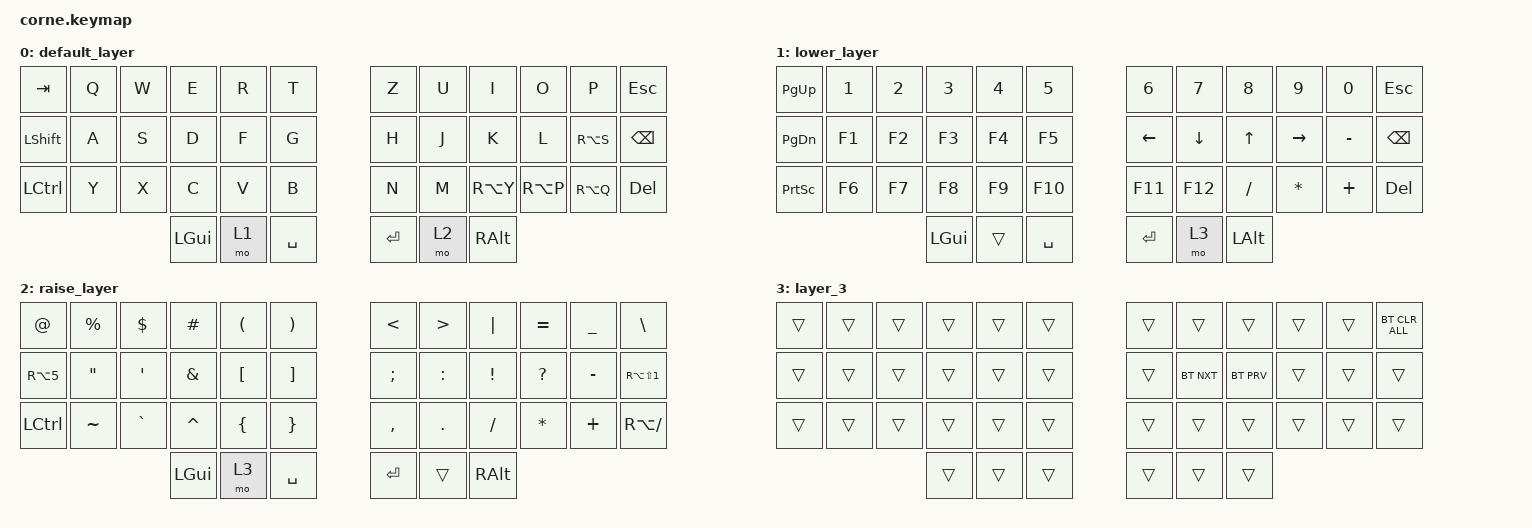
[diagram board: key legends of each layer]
/*
 * Copyright (c) 2020 The ZMK Contributors
 *
 * SPDX-License-Identifier: MIT
 */

#include <behaviors.dtsi>
#include <dt-bindings/zmk/bt.h>
#include <dt-bindings/zmk/keys.h>

/ {
    combos { compatible = "zmk,combos"; };

    keymap {
        compatible = "zmk,keymap";

        default_layer {
            // -----------------------------------------------------------------------------------------
            // |  TAB |  Q  |  W  |  E  |  R  |  T  |   |  Y  |  U   |  I  |  O  |  P  | BKSP |
            // | CTRL |  A  |  S  |  D  |  F  |  G  |   |  H  |  J   |  K  |  L  |  ;  |  '   |
            // | SHFT |  Z  |  X  |  C  |  V  |  B  |   |  N  |  M   |  ,  |  .  |  /  | ESC  |
            //                    | GUI | LWR | SPC |   | ENT | RSE  | ALT |

            bindings = <
&kp TAB           &kp Q  &kp W  &kp E     &kp R  &kp T        &kp Z    &kp U  &kp I      &kp O      &kp P      &kp ESCAPE
&kp LEFT_SHIFT    &kp A  &kp S  &kp D     &kp F  &kp G        &kp H    &kp J  &kp K      &kp L      &kp RA(S)  &kp BACKSPACE
&kp LEFT_CONTROL  &kp Y  &kp X  &kp C     &kp V  &kp B        &kp N    &kp M  &kp RA(Y)  &kp RA(P)  &kp RA(Q)  &kp DELETE
                                &kp LGUI  &mo 1  &kp SPACE    &kp RET  &mo 2  &kp RALT
            >;
        };

        lower_layer {
            // -----------------------------------------------------------------------------------------
            // |  TAB |  1  |  2  |  3  |  4  |  5  |   |  6  |  7  |  8  |  9  |  0  | BKSP |
            // | BTCLR| BT1 | BT2 | BT3 | BT4 | BT5 |   | LFT | DWN |  UP | RGT |     |      |
            // | SHFT |     |     |     |     |     |   |     |     |     |     |     |      |
            //                    | GUI |     | SPC |   | ENT |     | ALT |

            bindings = <
&kp PAGE_UP      &kp N1  &kp N2  &kp N3    &kp N4  &kp N5       &kp N6    &kp N7    &kp N8        &kp N9     &kp N0     &kp ESC
&kp PAGE_DOWN    &kp F1  &kp F2  &kp F3    &kp F4  &kp F5       &kp LEFT  &kp DOWN  &kp UP        &kp RIGHT  &kp MINUS  &kp BACKSPACE
&kp PRINTSCREEN  &kp F6  &kp F7  &kp F8    &kp F9  &kp F10      &kp F11   &kp F12   &kp FSLH      &kp STAR   &kp PLUS   &kp DEL
                                 &kp LGUI  &trans  &kp SPACE    &kp RET   &mo 3     &kp LEFT_ALT
            >;
        };

        raise_layer {
            // -----------------------------------------------------------------------------------------
            // |  TAB |  !  |  @  |  #  |  $  |  %  |   |  ^  |  &  |  *  |  (  |  )  | BKSP |
            // | CTRL |     |     |     |     |     |   |  -  |  =  |  [  |  ]  |  \  |  `   |
            // | SHFT |     |     |     |     |     |   |  _  |  +  |  {  |  }  | "|" |  ~   |
            //                    | GUI |     | SPC |   | ENT |     | ALT |

            bindings = <
&kp AT            &kp PERCENT        &kp DOLLAR        &kp HASH       &kp LEFT_PARENTHESIS  &kp RIGHT_PARENTHESIS    &kp LESS_THAN  &kp GREATER_THAN  &kp PIPE         &kp EQUAL     &kp UNDERSCORE  &kp BACKSLASH
&kp RA(NUMBER_5)  &kp DOUBLE_QUOTES  &kp SINGLE_QUOTE  &kp AMPERSAND  &kp LEFT_BRACKET      &kp RIGHT_BRACKET        &kp SEMICOLON  &kp COLON         &kp EXCLAMATION  &kp QUESTION  &kp MINUS       &kp RA(LS(NUMBER_1))
&kp LCTRL         &kp TILDE          &kp GRAVE         &kp CARET      &kp LEFT_BRACE        &kp RIGHT_BRACE          &kp COMMA      &kp DOT           &kp SLASH        &kp ASTERISK  &kp PLUS        &kp RA(SLASH)
                                                       &kp LGUI       &mo 3                 &kp SPACE                &kp RET        &trans            &kp RALT
            >;
        };

        layer_3 {
            bindings = <
&trans  &trans  &trans  &trans  &trans  &trans    &trans  &trans      &trans      &trans  &trans  &bt BT_CLR_ALL
&trans  &trans  &trans  &trans  &trans  &trans    &trans  &bt BT_NXT  &bt BT_PRV  &trans  &trans  &trans
&trans  &trans  &trans  &trans  &trans  &trans    &trans  &trans      &trans      &trans  &trans  &trans
                        &trans  &trans  &trans    &trans  &trans      &trans
            >;
        };
    };
};
